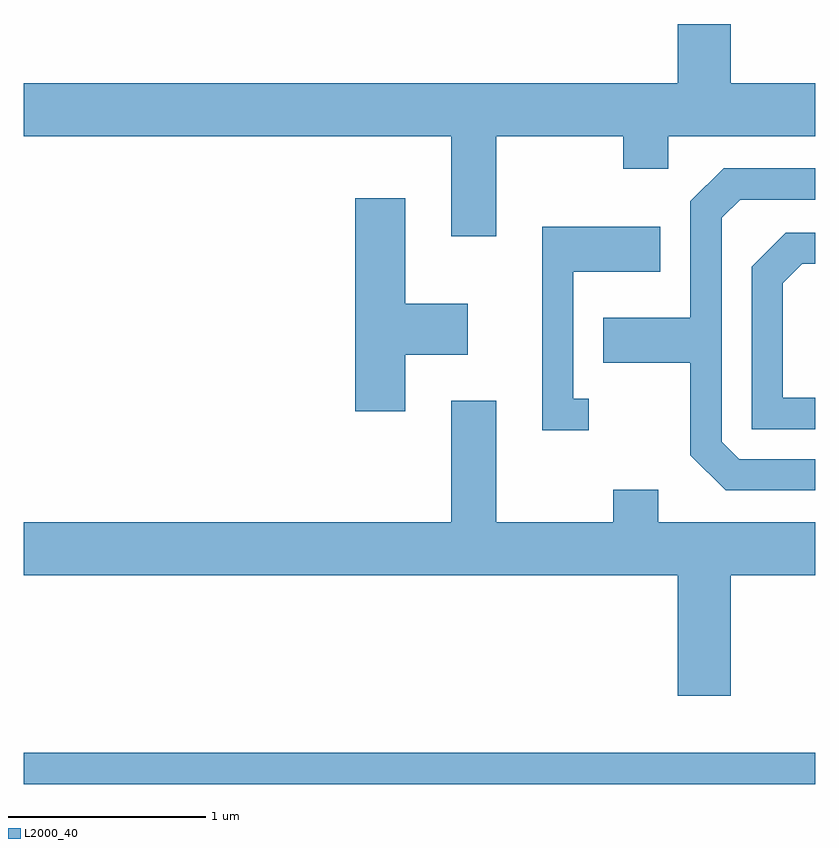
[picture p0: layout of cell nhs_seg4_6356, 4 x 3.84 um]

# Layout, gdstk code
import gdstk
lib = gdstk.Library(unit=1e-6, precision=1e-09)
def R(c, l, rs):  # rectangles x0, y0, x1, y1
    for r in rs: c.add(gdstk.rectangle(r[:2], r[2:], *l))
def P(c, l, *ps):  # polygons
    for p in ps: c.add(gdstk.Polygon(p, *l))
L2000_40 = (2000, 40)

nhs_seg4_6356 = lib.new_cell('nhs_seg4_6356')
R(nhs_seg4_6356, L2000_40, [(371.611,1318.101,375.611,1318.259)])
P(nhs_seg4_6356, L2000_40, [(373.999,1321.376),(374.641,1321.376),(374.641,1321.211),(374.869,1321.211),(374.869,1321.376),(375.611,1321.376),(375.611,1321.644),(375.184,1321.644),(375.184,1321.944),(374.916,1321.944),(374.916,1321.644),(371.611,1321.644),(371.611,1321.376),(373.771,1321.376),(373.771,1320.871),(373.999,1320.871)],
  [(375.611,1319.744),(375.227,1319.744),(375.139,1319.832),(375.139,1320.964),(375.232,1321.056),(375.611,1321.056),(375.611,1321.214),(375.149,1321.214),(374.981,1321.047),(374.981,1320.459),(374.541,1320.459),(374.541,1320.231),(374.981,1320.231),(374.981,1319.764),(375.159,1319.586),(375.611,1319.586)],
  [(373.539,1320.271),(373.854,1320.271),(373.854,1320.529),(373.539,1320.529),(373.539,1321.064),(373.286,1321.064),(373.286,1319.986),(373.539,1319.986)],
  [(374.468,1320.049),(374.389,1320.049),(374.389,1320.691),(374.829,1320.691),(374.829,1320.919),(374.231,1320.919),(374.231,1319.891),(374.468,1319.891)],
  [(375.611,1320.054),(375.449,1320.054),(375.449,1320.634),(375.547,1320.731),(375.611,1320.731),(375.611,1320.889),(375.464,1320.889),(375.291,1320.717),(375.291,1319.896),(375.611,1319.896)],
  [(375.184,1319.156),(375.611,1319.156),(375.611,1319.424),(374.819,1319.424),(374.819,1319.589),(374.591,1319.589),(374.591,1319.424),(373.999,1319.424),(373.999,1320.039),(373.771,1320.039),(373.771,1319.424),(371.611,1319.424),(371.611,1319.156),(374.916,1319.156),(374.916,1318.546),(375.184,1318.546)])

lib.write_gds('nhs_seg4_6356.gds')
